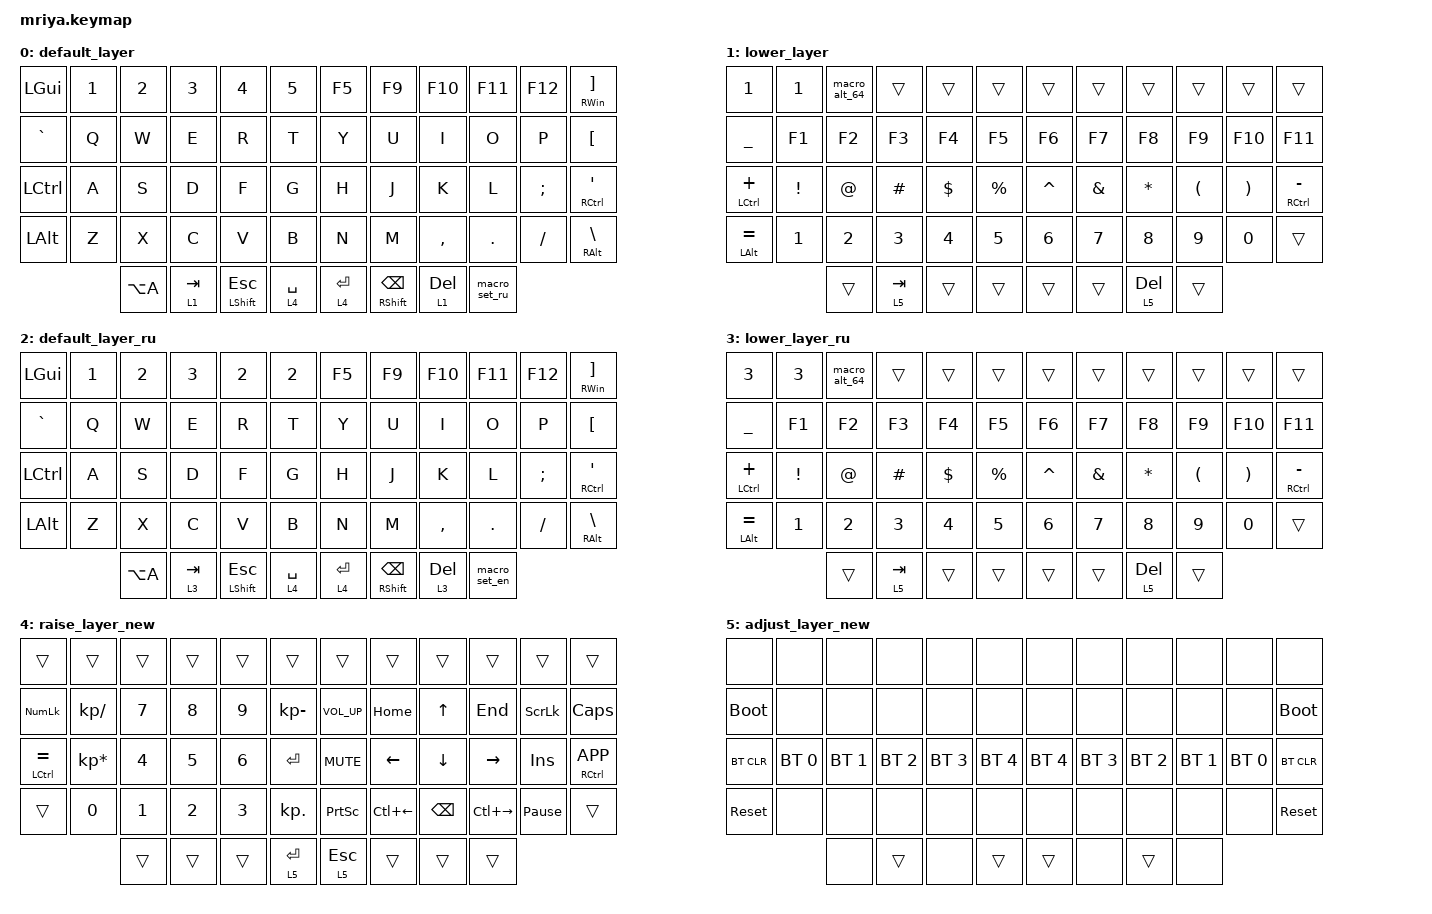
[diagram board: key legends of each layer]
/*
 * Copyright (c) 2023 Andrei Gaevskii
 *
 * SPDX-License-Identifier: MIT
 */
/* test for build*/

#include <behaviors.dtsi>
#include <dt-bindings/zmk/bt.h>
#include <dt-bindings/zmk/keys.h>

#define DEF 0
#define LWR 1
#define RSE 2
#define ADJ 3

&lt { quick_tap_ms = <200>; };

&mt { quick_tap_ms = <200>; };

/ {
    combos {
        compatible = "zmk,combos";

        combo_f5 {
            bindings = <&kp F5>;
            key-positions = <18 30>;
        };
    };

    macros {
        macro_alt_64: macro_alt_64 {
            compatible = "zmk,behavior-macro";
            #binding-cells = <0>;
            bindings =
                <&macro_press>,
                <&kp LEFT_ALT>,
                <&macro_tap>,
                <&kp KP_NUMBER_6>,
                <&macro_tap>,
                <&kp KP_NUMBER_4>,
                <&macro_release>,
                <&kp LEFT_ALT>;

            label = "MACRO_ALT_64";
        };

        macro_set_ru: macro_set_ru {
            compatible = "zmk,behavior-macro";
            #binding-cells = <0>;
            bindings = <&to 2 &kp LC(NUMBER_6)>;
            label = "MACRO_SET_RU";
        };

        macro_set_en: macro_set_en {
            compatible = "zmk,behavior-macro";
            #binding-cells = <0>;
            bindings = <&to 0 &kp LC(NUMBER_5)>;
            label = "MACRO_SET_EN";
        };
    };

    keymap {
        compatible = "zmk,keymap";

        default_layer {
            bindings = <
  &kp LGUI   &kp N1  &kp N2     &kp N3     &kp N4            &kp N5         &kp F5       &kp F9          &kp F10    &kp F11        &kp F12   &mt RIGHT_WIN RBKT
  &kp GRAVE  &kp Q   &kp W      &kp E      &kp R             &kp T          &kp Y        &kp U           &kp I      &kp O          &kp P     &kp LBKT
  &kp LCTRL  &kp A   &kp S      &kp D      &kp F             &kp G          &kp H        &kp J           &kp K      &kp L          &kp SEMI  &mt RCTRL SQT
  &kp LALT   &kp Z   &kp X      &kp C      &kp V             &kp B          &kp N        &kp M           &kp COMMA  &kp DOT        &kp FSLH  &mt RALT BSLH
                     &kp LA(A)  &lt 1 TAB  &mt LSHFT ESCAPE  &lt 4 SPACE    &lt 4 ENTER  &mt RSHFT BSPC  &lt 1 DEL  &macro_set_ru
            >;
        };

        lower_layer {
            bindings = <
  &kp NUMBER_1    &kp N1    &macro_alt_64  &trans     &trans    &trans       &trans     &trans    &trans     &trans    &trans    &trans
  &kp UNDER       &kp F1    &kp F2         &kp F3     &kp F4    &kp F5       &kp F6     &kp F7    &kp F8     &kp F9    &kp F10   &kp F11
  &mt LCTRL PLUS  &kp EXCL  &kp AT         &kp HASH   &kp DLLR  &kp PRCNT    &kp CARET  &kp AMPS  &kp STAR   &kp LPAR  &kp RPAR  &mt RCTRL MINUS
  &mt LALT EQUAL  &kp N1    &kp N2         &kp N3     &kp N4    &kp N5       &kp N6     &kp N7    &kp N8     &kp N9    &kp N0    &trans
                            &trans         &lt 5 TAB  &trans    &trans       &trans     &trans    &lt 5 DEL  &trans
            >;
        };

        default_layer_ru {
            bindings = <
  &kp LGUI   &kp N1  &kp N2     &kp N3     &kp NUMBER_2      &kp NUMBER_2    &kp F5       &kp F9          &kp F10    &kp F11        &kp F12   &mt RIGHT_WIN RBKT
  &kp GRAVE  &kp Q   &kp W      &kp E      &kp R             &kp T           &kp Y        &kp U           &kp I      &kp O          &kp P     &kp LBKT
  &kp LCTRL  &kp A   &kp S      &kp D      &kp F             &kp G           &kp H        &kp J           &kp K      &kp L          &kp SEMI  &mt RCTRL SQT
  &kp LALT   &kp Z   &kp X      &kp C      &kp V             &kp B           &kp N        &kp M           &kp COMMA  &kp DOT        &kp FSLH  &mt RALT BSLH
                     &kp LA(A)  &lt 3 TAB  &mt LSHFT ESCAPE  &lt 4 SPACE     &lt 4 ENTER  &mt RSHFT BSPC  &lt 3 DEL  &macro_set_en
            >;
        };

        lower_layer_ru {
            bindings = <
  &kp NUMBER_3    &kp NUMBER_3  &macro_alt_64  &trans     &trans    &trans       &trans     &trans    &trans     &trans    &trans    &trans
  &kp UNDER       &kp F1        &kp F2         &kp F3     &kp F4    &kp F5       &kp F6     &kp F7    &kp F8     &kp F9    &kp F10   &kp F11
  &mt LCTRL PLUS  &kp EXCL      &kp AT         &kp HASH   &kp DLLR  &kp PRCNT    &kp CARET  &kp AMPS  &kp STAR   &kp LPAR  &kp RPAR  &mt RCTRL MINUS
  &mt LALT EQUAL  &kp N1        &kp N2         &kp N3     &kp N4    &kp N5       &kp N6     &kp N7    &kp N8     &kp N9    &kp N0    &trans
                                &trans         &lt 5 TAB  &trans    &trans       &trans     &trans    &lt 5 DEL  &trans
            >;
        };

        raise_layer_new {
            bindings = <
  &trans           &trans           &trans  &trans        &trans  &trans          &trans           &trans        &trans         &trans         &trans           &trans
  &kp KP_NUM       &kp KP_SLASH     &kp N7  &kp N8        &kp N9  &kp KP_MINUS    &kp C_VOL_UP     &kp HOME      &kp UP         &kp END        &kp SLCK         &kp CAPS
  &mt LCTRL EQUAL  &kp KP_MULTIPLY  &kp N4  &kp N5        &kp N6  &kp ENTER       &kp C_MUTE       &kp LEFT      &kp DOWN       &kp RIGHT      &kp INS          &mt RCTRL K_APP
  &trans           &kp N0           &kp N1  &kp NUMBER_2  &kp N3  &kp KP_DOT      &kp PRINTSCREEN  &kp LC(LEFT)  &kp BACKSPACE  &kp LC(RIGHT)  &kp PAUSE_BREAK  &trans
                                    &trans  &trans        &trans  &lt 5 RET       &lt 5 ESC        &trans        &trans         &trans
            >;
        };

        adjust_layer_new {
            bindings = <
  &none        &none         &none         &none         &none         &none           &none         &none         &none         &none         &none         &none
  &bootloader  &none         &none         &none         &none         &none           &none         &none         &none         &none         &none         &bootloader
  &bt BT_CLR   &bt BT_SEL 0  &bt BT_SEL 1  &bt BT_SEL 2  &bt BT_SEL 3  &bt BT_SEL 4    &bt BT_SEL 4  &bt BT_SEL 3  &bt BT_SEL 2  &bt BT_SEL 1  &bt BT_SEL 0  &bt BT_CLR
  &sys_reset   &none         &none         &none         &none         &none           &none         &none         &none         &none         &none         &sys_reset
                             &none         &trans        &none         &trans          &trans        &none         &trans        &none
            >;
        };
    };
};
